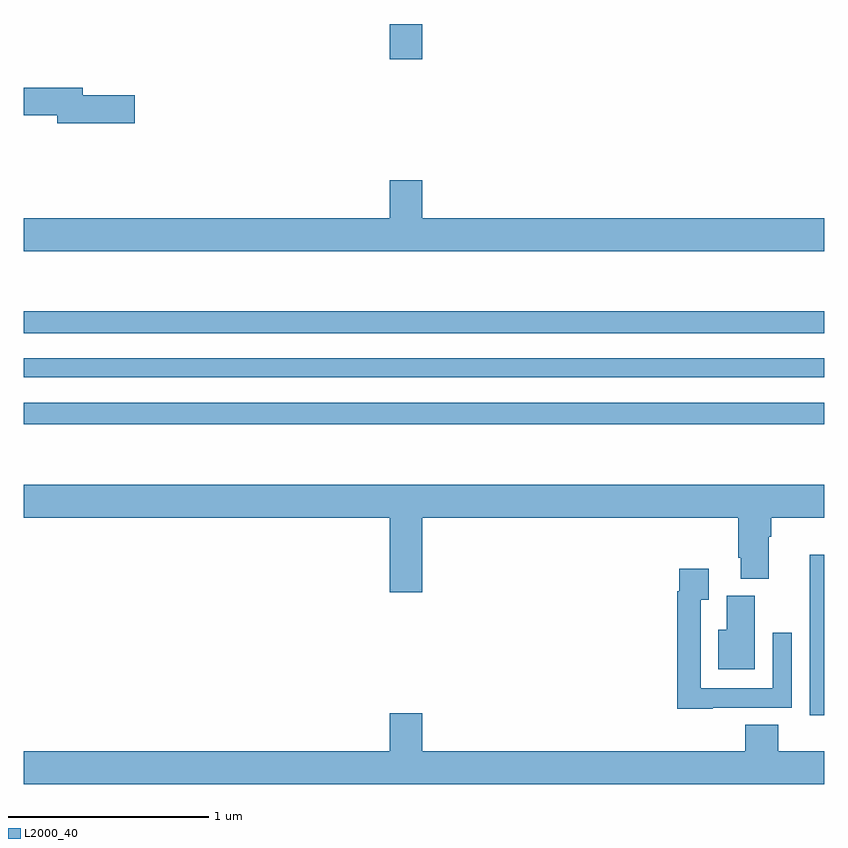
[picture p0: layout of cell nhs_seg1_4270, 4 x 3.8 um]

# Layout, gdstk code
import gdstk
lib = gdstk.Library(unit=1e-6, precision=1e-09)
def R(c, l, rs):  # rectangles x0, y0, x1, y1
    for r in rs: c.add(gdstk.rectangle(r[:2], r[2:], *l))
def P(c, l, *ps):  # polygons
    for p in ps: c.add(gdstk.Polygon(p, *l))
L2000_40 = (2000, 40)

nhs_seg1_4270 = lib.new_cell('nhs_seg1_4270')
R(nhs_seg1_4270, L2000_40, [(343,552.198,347,552.306), (343,552.432,347,552.528), (343,552.654,347,552.763), (344.828,554.022,344.992,554.199)])
P(nhs_seg1_4270, L2000_40, [(343.555,553.844),(343.294,553.844),(343.294,553.88),(343,553.88),(343,553.744),(343.166,553.744),(343.166,553.702),(343.555,553.702)],
  [(347,553.228),(344.992,553.228),(344.992,553.417),(344.828,553.417),(344.828,553.228),(343,553.228),(343,553.064),(347,553.064)],
  [(344.992,551.732),(346.571,551.732),(346.571,551.53),(346.583,551.53),(346.583,551.425),(346.723,551.425),(346.723,551.636),(346.736,551.636),(346.736,551.732),(347,551.732),(347,551.896),(343,551.896),(343,551.732),(344.828,551.732),(344.828,551.358),(344.992,551.358)],
  [(347,551.546),(346.928,551.546),(346.928,551.242),(346.929,551.242),(346.929,550.743),(347,550.743)],
  [(346.443,550.782),(346.839,550.782),(346.839,551.155),(346.743,551.155),(346.743,550.878),(346.383,550.878),(346.383,551.32),(346.423,551.32),(346.423,551.476),(346.275,551.476),(346.275,551.363),(346.267,551.363),(346.267,550.775),(346.443,550.775)],
  [(346.654,551.34),(346.514,551.34),(346.514,551.17),(346.472,551.17),(346.472,550.973),(346.654,550.973)],
  [(347,550.564),(346.772,550.564),(346.772,550.697),(346.607,550.697),(346.607,550.564),(344.992,550.564),(344.992,550.753),(344.828,550.753),(344.828,550.564),(343,550.564),(343,550.4),(347,550.4)])

lib.write_gds('nhs_seg1_4270.gds')
